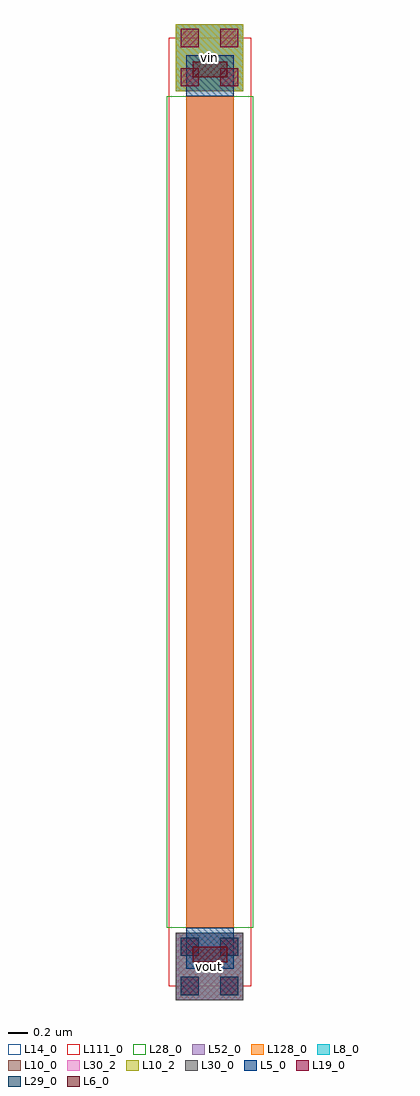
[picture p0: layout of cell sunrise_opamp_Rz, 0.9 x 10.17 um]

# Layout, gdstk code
from math import pi, radians
import gdstk
lib = gdstk.Library(unit=1e-6, precision=1e-09)
def R(c, l, rs):  # rectangles x0, y0, x1, y1
    for r in rs: c.add(gdstk.rectangle(r[:2], r[2:], *l))
L5_0 = (5, 0)
L6_0 = (6, 0)
L8_0 = (8, 0)
L10_0 = (10, 0)
L10_2 = (10, 2)
L14_0 = (14, 0)
L19_0 = (19, 0)
L28_0 = (28, 0)
L29_0 = (29, 0)
L30_0 = (30, 0)
L30_2 = (30, 2)
L52_0 = (52, 0)
L111_0 = (111, 0)
L128_0 = (128, 0)

rppd_akuduk = lib.new_cell('rppd_AKUDUK')
R(rppd_akuduk, L5_0, [(-0.25,-4.76,0.25,-4.33), (-0.25,4.33,0.25,4.76)])
R(rppd_akuduk, L6_0, [(-0.18,-4.69,0.18,-4.53), (-0.18,4.53,0.18,4.69)])
R(rppd_akuduk, L8_0, [(-0.23,-4.715,0.23,-4.425), (-0.23,4.425,0.23,4.715)])
R(rppd_akuduk, L14_0, [(-0.43,-4.94,0.43,4.94)])
R(rppd_akuduk, L28_0, [(-0.45,-4.33,0.45,4.33)])
R(rppd_akuduk, L52_0, [(-0.25,-4.33,0.25,4.33)])
R(rppd_akuduk, L111_0, [(-0.43,-4.94,0.43,4.94)])
R(rppd_akuduk, L128_0, [(-0.25,-4.33,0.25,4.33)])
rppd_akuduk.add(gdstk.Label('R1', (0,4.61), layer=8, texttype=25))
rppd_akuduk.add(gdstk.Label('R2', (0,-4.61), layer=8, texttype=25))

via_stack = lib.new_cell('via_stack')
R(via_stack, L8_0, [(-0.35,-0.35,0.35,0.35)])
R(via_stack, L10_0, [(-0.35,-0.35,0.35,0.35)])
R(via_stack, L19_0, [(-0.3,-0.3,-0.11,-0.11), (0.11,-0.3,0.3,-0.11), (-0.3,0.11,-0.11,0.3), (0.11,0.11,0.3,0.3)])

via_stack_1 = lib.new_cell('via_stack$1')
R(via_stack_1, L8_0, [(-0.35,-0.35,0.35,0.35)])
R(via_stack_1, L10_0, [(-0.35,-0.35,0.35,0.35)])
R(via_stack_1, L19_0, [(-0.3,-0.3,-0.11,-0.11), (0.11,-0.3,0.3,-0.11), (-0.3,0.11,-0.11,0.3), (0.11,0.11,0.3,0.3)])
R(via_stack_1, L29_0, [(-0.3,-0.3,-0.11,-0.11), (0.11,-0.3,0.3,-0.11), (-0.3,0.11,-0.11,0.3), (0.11,0.11,0.3,0.3)])
R(via_stack_1, L30_0, [(-0.35,-0.35,0.35,0.35)])

sunrise_opamp_rz = lib.new_cell('sunrise_opamp_Rz')
R(sunrise_opamp_rz, L8_0, [(0.22,0.145,0.68,0.225), (0.22,9.655,0.68,9.735)])
R(sunrise_opamp_rz, L10_2, [(0.095,9.325,0.795,10.025)])
R(sunrise_opamp_rz, L30_2, [(0.095,-0.145,0.795,0.555)])
sunrise_opamp_rz.add(gdstk.Reference(rppd_akuduk, (0.45,4.94)))
sunrise_opamp_rz.add(gdstk.Reference(via_stack, (0.445,9.675), rotation=pi/2))
sunrise_opamp_rz.add(gdstk.Reference(via_stack_1, (0.445,0.205), rotation=pi/2))
sunrise_opamp_rz.add(gdstk.Label('vout', (0.445,0.205), layer=30, texttype=25))
sunrise_opamp_rz.add(gdstk.Label('vin', (0.445,9.675), layer=10, texttype=25))

lib.write_gds('sunrise_opamp_Rz.gds')
